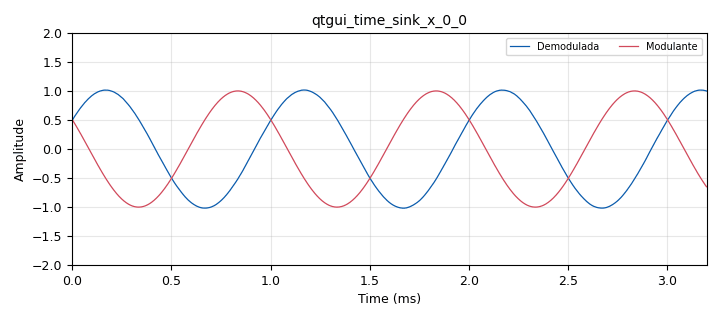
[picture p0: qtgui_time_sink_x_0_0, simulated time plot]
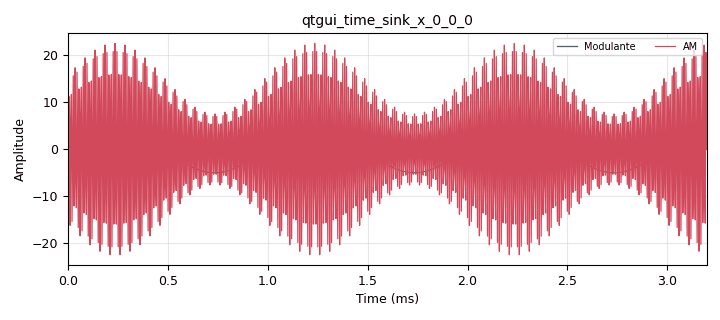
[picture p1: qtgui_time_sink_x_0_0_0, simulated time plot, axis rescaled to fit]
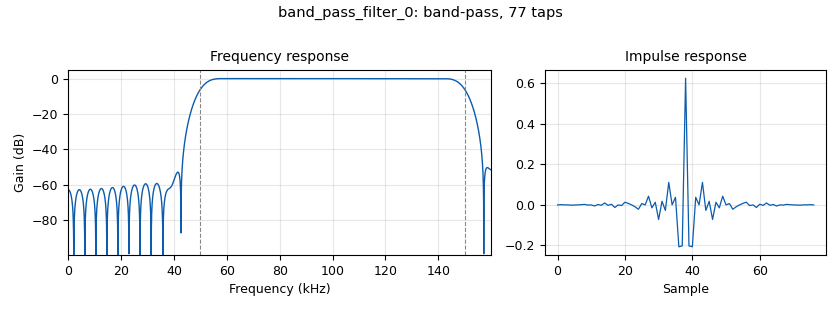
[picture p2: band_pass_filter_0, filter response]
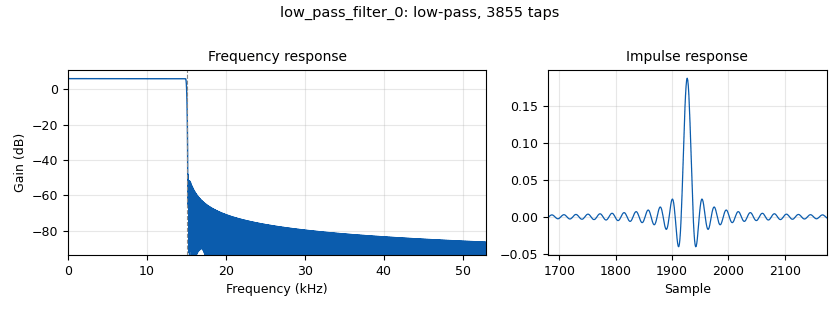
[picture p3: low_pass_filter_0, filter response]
options:
  parameters:
    author: Vazquez Leonardo
    generate_options: qt_gui
    id: am2
    output_language: python
    title: Am mod-dem
  states: {}

blocks:
- name: M
  id: variable_qtgui_range
  parameters:
    label: Indice de Modulacion
    orient: Qt.Horizontal
    start: '0.1'
    step: '0.1'
    stop: '1'
    value: '0.5'
  states: {}
- name: noise
  id: variable_qtgui_range
  parameters:
    label: Noise
    orient: Qt.Horizontal
    start: '0.001'
    step: '0.001'
    stop: '0.1'
    value: '0.001'
  states: {}
- name: samp_rate
  id: variable
  parameters:
    value: '320000'
  states: {}
- name: analog_const_source_x_0
  id: analog_const_source_x
  parameters:
    const: '1'
    type: float
  states: {}
- name: analog_noise_source_x_0
  id: analog_noise_source_x
  parameters:
    amp: noise
    noise_type: analog.GR_GAUSSIAN
    seed: '0'
    type: float
  states: {}
- name: analog_sig_source_x_0
  id: analog_sig_source_x
  parameters:
    amp: '1'
    freq: '1000'
    offset: '0'
    phase: '0'
    samp_rate: samp_rate
    type: float
    waveform: analog.GR_SIN_WAVE
  states: {}
- name: analog_sig_source_x_1
  id: analog_sig_source_x
  parameters:
    amp: '15'
    freq: '100000'
    offset: '0'
    phase: '0'
    samp_rate: samp_rate
    type: float
    waveform: analog.GR_COS_WAVE
  states: {}
- name: analog_sig_source_x_1_0
  id: analog_sig_source_x
  parameters:
    amp: '1'
    freq: '100000'
    offset: '0'
    phase: '0'
    samp_rate: samp_rate
    type: float
    waveform: analog.GR_COS_WAVE
  states: {}
- name: band_pass_filter_0
  id: band_pass_filter
  parameters:
    decim: '1'
    gain: '1'
    high_cutoff_freq: '150000'
    low_cutoff_freq: '50000'
    samp_rate: samp_rate
    type: fir_filter_fff
    width: '10000'
    win: firdes.WIN_HAMMING
  states: {}
- name: blocks_add_xx_0
  id: blocks_add_xx
  parameters:
    type: float
  states: {}
- name: blocks_add_xx_1
  id: blocks_add_xx
  parameters:
    type: float
  states: {}
- name: blocks_multiply_const_vxx_0
  id: blocks_multiply_const_vxx
  parameters:
    const: M
    type: float
  states: {}
- name: blocks_multiply_const_vxx_1
  id: blocks_multiply_const_vxx
  parameters:
    const: '3'
    type: float
  states: {}
- name: blocks_multiply_const_vxx_1_0
  id: blocks_multiply_const_vxx
  parameters:
    const: '5'
    type: float
  states: {}
- name: blocks_multiply_xx_0
  id: blocks_multiply_xx
  parameters:
    type: float
  states: {}
- name: blocks_multiply_xx_1
  id: blocks_multiply_xx
  parameters:
    type: float
  states: {}
- name: blocks_throttle_0
  id: blocks_throttle
  parameters:
    samples_per_second: samp_rate
    type: float
  states: {}
- name: blocks_throttle_0_0
  id: blocks_throttle
  parameters:
    samples_per_second: samp_rate
    type: float
  states: {}
- name: blocks_throttle_0_0_0
  id: blocks_throttle
  parameters:
    samples_per_second: samp_rate
    type: float
  states: {}
- name: dc_blocker_xx_0
  id: dc_blocker_xx
  parameters:
    length: '32'
    long_form: 'True'
    type: ff
  states: {}
- name: low_pass_filter_0
  id: low_pass_filter
  parameters:
    cutoff_freq: '15000'
    decim: '1'
    gain: '2'
    samp_rate: samp_rate
    type: fir_filter_fff
    width: '200'
    win: firdes.WIN_HAMMING
  states: {}
- name: qtgui_time_sink_x_0_0
  id: qtgui_time_sink_x
  parameters:
    color2: green
    ctrlpanel: 'True'
    entags: 'False'
    grid: 'True'
    label1: Demodulada
    label2: Modulante
    name: ''
    nconnections: '2'
    size: '1024'
    srate: samp_rate
    tr_level: '0.5'
    tr_mode: qtgui.TRIG_MODE_AUTO
    type: float
    update_time: '0.30'
    width1: '1.5'
    width2: '1.5'
    ymax: '2'
    ymin: '-2'
  states: {}
- name: qtgui_time_sink_x_0_0_0
  id: qtgui_time_sink_x
  parameters:
    ctrlpanel: 'True'
    entags: 'False'
    grid: 'True'
    label1: Modulante
    label2: 'AM '
    name: ''
    nconnections: '2'
    size: '1024'
    srate: samp_rate
    tr_level: '0.5'
    tr_mode: qtgui.TRIG_MODE_AUTO
    type: float
    update_time: '0.30'
    width1: '1.5'
    width2: '1.5'
    ymax: '2'
    ymin: '-2'
  states: {}
- name: virtual_sink_0
  id: virtual_sink
  parameters:
    stream_id: AM Tx
  states: {}
- name: virtual_sink_1
  id: virtual_sink
  parameters:
    stream_id: AM Rx
  states: {}
- name: virtual_sink_2
  id: virtual_sink
  parameters:
    stream_id: Modulante
  states: {}
- name: virtual_source_0
  id: virtual_source
  parameters:
    stream_id: AM Tx
  states: {}
- name: virtual_source_1
  id: virtual_source
  parameters:
    stream_id: AM Rx
  states: {}
- name: virtual_source_1_0
  id: virtual_source
  parameters:
    stream_id: AM Rx
  states: {}
- name: virtual_source_2
  id: virtual_source
  parameters:
    stream_id: Modulante
  states: {}

connections:
- [analog_const_source_x_0, '0', blocks_add_xx_0, '0']
- [analog_noise_source_x_0, '0', blocks_add_xx_1, '0']
- [analog_sig_source_x_0, '0', blocks_multiply_const_vxx_0, '0']
- [analog_sig_source_x_0, '0', virtual_sink_2, '0']
- [analog_sig_source_x_1, '0', blocks_multiply_xx_0, '1']
- [analog_sig_source_x_1_0, '0', blocks_multiply_xx_1, '1']
- [band_pass_filter_0, '0', blocks_multiply_xx_1, '0']
- [blocks_add_xx_0, '0', blocks_multiply_xx_0, '0']
- [blocks_add_xx_1, '0', virtual_sink_1, '0']
- [blocks_multiply_const_vxx_0, '0', blocks_add_xx_0, '1']
- [blocks_multiply_const_vxx_1, '0', blocks_throttle_0_0_0, '0']
- [blocks_multiply_const_vxx_1_0, '0', qtgui_time_sink_x_0_0_0, '0']
- [blocks_multiply_xx_0, '0', virtual_sink_0, '0']
- [blocks_multiply_xx_1, '0', low_pass_filter_0, '0']
- [blocks_throttle_0, '0', qtgui_time_sink_x_0_0_0, '1']
- [blocks_throttle_0_0, '0', blocks_multiply_const_vxx_1_0, '0']
- [blocks_throttle_0_0, '0', qtgui_time_sink_x_0_0, '1']
- [blocks_throttle_0_0_0, '0', qtgui_time_sink_x_0_0, '0']
- [dc_blocker_xx_0, '0', blocks_multiply_const_vxx_1, '0']
- [low_pass_filter_0, '0', dc_blocker_xx_0, '0']
- [virtual_source_0, '0', blocks_add_xx_1, '1']
- [virtual_source_1, '0', band_pass_filter_0, '0']
- [virtual_source_1_0, '0', blocks_throttle_0, '0']
- [virtual_source_2, '0', blocks_throttle_0_0, '0']

metadata:
  file_format: 1
